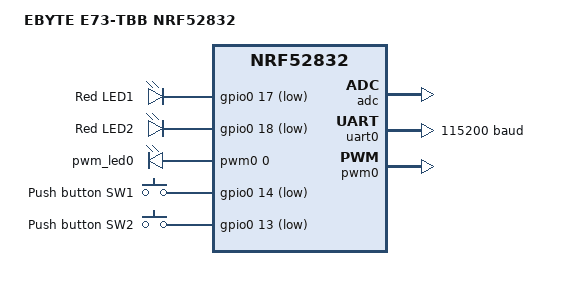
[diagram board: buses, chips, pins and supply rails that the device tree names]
/*
 * Copyright (c) 2017 Shawn Nock <shawn@monadnock.ca>
 * Copyright (c) 2017 Linaro Limited
 * Copyright (c) 2021 Michal Morsisko
 *
 * SPDX-License-Identifier: Apache-2.0
 */

/dts-v1/;
#include <nordic/nrf52832_qfaa.dtsi>
#include "ebyte_e73_tbb_nrf52832-pinctrl.dtsi"
#include <zephyr/dt-bindings/input/input-event-codes.h>

/ {
	compatible = "ebyte,e73-tbb-nrf52832";
	model = "EBYTE E73-TBB NRF52832";

	chosen {
		zephyr,console = &uart0;
		zephyr,shell-uart = &uart0;
		zephyr,uart-mcumgr = &uart0;
		zephyr,bt-mon-uart = &uart0;
		zephyr,bt-c2h-uart = &uart0;
		zephyr,sram = &sram0;
		zephyr,flash = &flash0;
		zephyr,code-partition = &slot0_partition;
	};

	leds {
		compatible = "gpio-leds";

		led0: led_0 {
			gpios = <&gpio0 17 GPIO_ACTIVE_LOW>;
			label = "Red LED1";
		};

		led1: led_1 {
			gpios = <&gpio0 18 GPIO_ACTIVE_LOW>;
			label = "Red LED2";
		};
	};

	pwmleds {
		compatible = "pwm-leds";

		pwm_led0: pwm_led_0 {
			pwms = <&pwm0 0 PWM_MSEC(20) PWM_POLARITY_INVERTED>;
		};
	};

	buttons {
		compatible = "gpio-keys";

		button0: button_0 {
			gpios = <&gpio0 14 (GPIO_PULL_UP | GPIO_ACTIVE_LOW)>;
			label = "Push button SW1";
			zephyr,code = <INPUT_KEY_0>;
		};

		button1: button_1 {
			gpios = <&gpio0 13 (GPIO_PULL_UP | GPIO_ACTIVE_LOW)>;
			label = "Push button SW2";
			zephyr,code = <INPUT_KEY_1>;
		};
	};

	/* These aliases are provided for compatibility with samples */
	aliases {
		led0 = &led0;
		led1 = &led1;
		pwm-led0 = &pwm_led0;
		sw0 = &button0;
		sw1 = &button1;
		mcuboot-led0 = &led0;
		watchdog0 = &wdt0;
	};
};

&adc {
	status = "okay";
};

&uicr {
	gpio-as-nreset;
};

&gpiote {
	status = "okay";
};

&gpio0 {
	status = "okay";
};

&uart0 {
	compatible = "nordic,nrf-uarte";
	current-speed = <115200>;
	pinctrl-0 = <&uart0_default>;
	pinctrl-1 = <&uart0_sleep>;
	pinctrl-names = "default", "sleep";
	status = "okay";
};

&pwm0 {
	pinctrl-0 = <&pwm0_default>;
	pinctrl-1 = <&pwm0_sleep>;
	pinctrl-names = "default", "sleep";
	status = "okay";
};

&flash0 {
	partitions {
		compatible = "fixed-partitions";
		#address-cells = <1>;
		#size-cells = <1>;

		boot_partition: partition@0 {
			reg = <0x00000000 0xc000>;
			label = "mcuboot";
		};

		slot0_partition: partition@c000 {
			reg = <0x0000C000 0x32000>;
			label = "image-0";
		};

		slot1_partition: partition@3e000 {
			reg = <0x0003E000 0x32000>;
			label = "image-1";
		};

		scratch_partition: partition@70000 {
			reg = <0x00070000 0xa000>;
			label = "image-scratch";
		};

		storage_partition: partition@7a000 {
			reg = <0x0007a000 0x00006000>;
			label = "storage";
		};
	};
};
